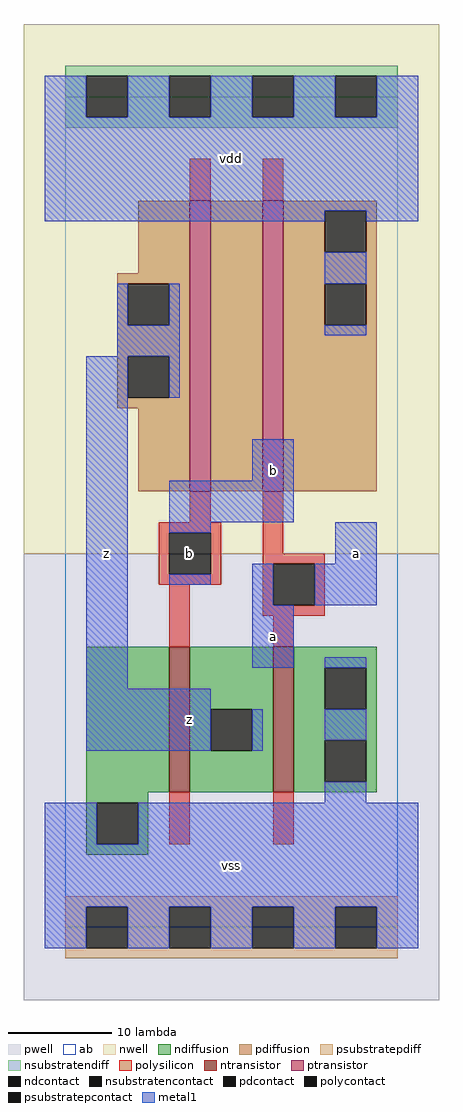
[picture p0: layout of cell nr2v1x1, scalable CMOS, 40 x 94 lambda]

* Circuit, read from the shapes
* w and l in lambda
.subckt nr2v1x1 a b vdd vss z
M1 z b vss vss nfet w=14 l=2
M2 vss a z vss nfet w=14 l=2
M3 n1 b z vdd pfet w=28 l=2
M4 vdd a n1 vdd pfet w=28 l=2
.ends

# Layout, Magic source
magic
tech scmos
<< ab >>
rect 0 0 32 80
<< pwell >>
rect -4 -7 36 36
<< nwell >>
rect -4 36 36 87
<< polysilicon >>
rect 12 70 14 74
rect 19 70 21 74
rect 12 39 14 42
rect 9 38 15 39
rect 9 34 10 38
rect 14 34 15 38
rect 9 33 15 34
rect 19 36 21 42
rect 19 35 25 36
rect 10 27 12 33
rect 19 31 20 35
rect 24 31 25 35
rect 19 30 25 31
rect 20 27 22 30
rect 10 8 12 13
rect 20 8 22 13
<< ndiffusion >>
rect 2 13 10 27
rect 12 21 20 27
rect 12 17 14 21
rect 18 17 20 21
rect 12 13 20 17
rect 22 25 30 27
rect 22 21 25 25
rect 29 21 30 25
rect 22 18 30 21
rect 22 14 25 18
rect 29 14 30 18
rect 22 13 30 14
rect 2 12 8 13
rect 2 8 3 12
rect 7 8 8 12
rect 2 7 8 8
<< pdiffusion >>
rect 7 63 12 70
rect 5 62 12 63
rect 5 58 6 62
rect 10 58 12 62
rect 5 55 12 58
rect 5 51 6 55
rect 10 51 12 55
rect 5 50 12 51
rect 7 42 12 50
rect 14 42 19 70
rect 21 69 30 70
rect 21 65 25 69
rect 29 65 30 69
rect 21 62 30 65
rect 21 58 25 62
rect 29 58 30 62
rect 21 42 30 58
<< metal1 >>
rect -2 78 2 82
rect 6 78 10 82
rect 14 78 18 82
rect 22 78 26 82
rect 30 78 34 82
rect -2 69 34 78
rect -2 68 25 69
rect 29 68 34 69
rect 25 62 29 65
rect 5 58 6 62
rect 10 58 11 62
rect 5 55 11 58
rect 25 57 29 58
rect 2 23 6 55
rect 10 51 11 55
rect 18 43 22 47
rect 10 39 22 43
rect 10 38 14 39
rect 26 35 30 39
rect 10 33 14 34
rect 18 31 20 35
rect 24 31 30 35
rect 18 25 22 31
rect 25 25 29 26
rect 2 17 14 23
rect 18 17 19 21
rect 25 18 29 21
rect 25 12 29 14
rect -2 8 3 12
rect 7 8 34 12
rect -2 2 34 8
rect -2 -2 2 2
rect 6 -2 10 2
rect 14 -2 18 2
rect 22 -2 26 2
rect 30 -2 34 2
<< ntransistor >>
rect 10 13 12 27
rect 20 13 22 27
<< ptransistor >>
rect 12 42 14 70
rect 19 42 21 70
<< polycontact >>
rect 10 34 14 38
rect 20 31 24 35
<< ndcontact >>
rect 14 17 18 21
rect 25 21 29 25
rect 25 14 29 18
rect 3 8 7 12
<< pdcontact >>
rect 6 58 10 62
rect 6 51 10 55
rect 25 65 29 69
rect 25 58 29 62
<< psubstratepcontact >>
rect 2 -2 6 2
rect 10 -2 14 2
rect 18 -2 22 2
rect 26 -2 30 2
<< nsubstratencontact >>
rect 2 78 6 82
rect 10 78 14 82
rect 18 78 22 82
rect 26 78 30 82
<< psubstratepdiff >>
rect 0 2 32 3
rect 0 -2 2 2
rect 6 -2 10 2
rect 14 -2 18 2
rect 22 -2 26 2
rect 30 -2 32 2
rect 0 -3 32 -2
<< nsubstratendiff >>
rect 0 82 32 83
rect 0 78 2 82
rect 6 78 10 82
rect 14 78 18 82
rect 22 78 26 82
rect 30 78 32 82
rect 0 77 32 78
<< labels >>
rlabel metal1 4 36 4 36 6 z
rlabel metal1 12 20 12 20 6 z
rlabel polycontact 12 36 12 36 6 b
rlabel metal1 16 6 16 6 6 vss
rlabel metal1 20 28 20 28 6 a
rlabel metal1 20 44 20 44 6 b
rlabel metal1 16 74 16 74 6 vdd
rlabel metal1 28 36 28 36 6 a
<< end >>
